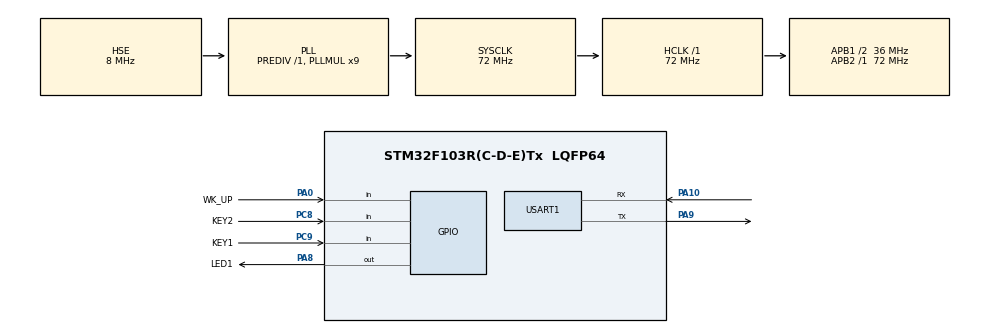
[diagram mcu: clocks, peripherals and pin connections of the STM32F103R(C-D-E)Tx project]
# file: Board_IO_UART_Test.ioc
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Mcu.Family=STM32F1
Mcu.Name=STM32F103R(C-D-E)Tx
Mcu.Package=LQFP64
NVIC.PriorityGroup=NVIC_PRIORITYGROUP_4
PA0-WKUP.GPIO_Label=WK_UP
PA0-WKUP.GPIO_PuPd=GPIO_PULLDOWN
PA0-WKUP.Signal=GPIO_Input
PA10.Mode=Asynchronous
PA10.Signal=USART1_RX
PA13.Mode=Serial_Wire
PA13.Signal=SYS_JTMS-SWDIO
PA14.Mode=Serial_Wire
PA14.Signal=SYS_JTCK-SWCLK
PA8.GPIO_Label=LED1
PA8.Signal=GPIO_Output
PA9.Mode=Asynchronous
PA9.Signal=USART1_TX
PC8.GPIO_Label=KEY2
PC8.GPIO_PuPd=GPIO_PULLUP
PC8.Signal=GPIO_Input
PC9.GPIO_Label=KEY1
PC9.GPIO_PuPd=GPIO_PULLUP
PC9.Signal=GPIO_Input
PD0-OSC_IN.Mode=HSE-External-Oscillator
PD0-OSC_IN.Signal=RCC_OSC_IN
PD1-OSC_OUT.Mode=HSE-External-Oscillator
PD1-OSC_OUT.Signal=RCC_OSC_OUT
ProjectManager.HeapSize=0x200
ProjectManager.StackSize=0x400
ProjectManager.TargetToolchain=MDK-ARM V5.32
RCC.AHBFreq_Value=72000000
RCC.APB1CLKDivider=RCC_HCLK_DIV2
RCC.APB1Freq_Value=36000000
RCC.APB1TimFreq_Value=72000000
RCC.APB2Freq_Value=72000000
RCC.APB2TimFreq_Value=72000000
RCC.HCLKFreq_Value=72000000
RCC.PLLMUL=RCC_PLL_MUL9
RCC.PLLSourceVirtual=RCC_PLLSOURCE_HSE
RCC.SYSCLKFreq_VALUE=72000000
RCC.SYSCLKSource=RCC_SYSCLKSOURCE_PLLCLK
RCC.USBFreq_Value=72000000
USART1.VirtualMode=VM_ASYNC
board=custom

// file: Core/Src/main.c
/* USER CODE BEGIN Header */
/**
  ******************************************************************************
  * @file           : main.c
  * @brief          : Main program body
  ******************************************************************************
  * @attention
  *
  * Copyright (c) 2026 STMicroelectronics.
  * All rights reserved.
  *
  * This software is licensed under terms that can be found in the LICENSE file
  * in the root directory of this software component.
  * If no LICENSE file comes with this software, it is provided AS-IS.
  *
  ******************************************************************************
  */
/* USER CODE END Header */
#include "main.h"

/* USER CODE BEGIN Includes */
#include <string.h>
/* USER CODE END Includes */

UART_HandleTypeDef huart1;

/* USER CODE BEGIN PV */
GPIO_PinState last_wkup_state;
GPIO_PinState last_key1_state;
GPIO_PinState last_key2_state;

uint32_t led_tick = 0;
/* USER CODE END PV */

void SystemClock_Config(void);
static void MX_GPIO_Init(void);
static void MX_USART1_UART_Init(void);

/* USER CODE BEGIN 0 */
static void UART_SendString(const char *str)
{
  HAL_UART_Transmit(&huart1,
                    (uint8_t *)str,
                    strlen(str),
                    HAL_MAX_DELAY);
}
/* USER CODE END 0 */

int main(void)
{

  /* MCU Configuration--------------------------------------------------------*/

  /* Reset of all peripherals, Initializes the Flash interface and the Systick. */
  HAL_Init();

  /* Configure the system clock */
  SystemClock_Config();

  /* Initialize all configured peripherals */
  MX_GPIO_Init();
  MX_USART1_UART_Init();
  /* USER CODE BEGIN 2 */
  UART_SendString("\r\n");
  UART_SendString("Board_IO_UART_Test started.\r\n");
  UART_SendString("SYSCLK: 72 MHz\r\n");
  UART_SendString("USART1: 115200 8N1\r\n");
  UART_SendString("Press WK_UP, KEY1 or KEY2.\r\n");

  last_wkup_state = HAL_GPIO_ReadPin(WK_UP_GPIO_Port, WK_UP_Pin);
  last_key1_state = HAL_GPIO_ReadPin(KEY1_GPIO_Port, KEY1_Pin);
  last_key2_state = HAL_GPIO_ReadPin(KEY2_GPIO_Port, KEY2_Pin);

  led_tick = HAL_GetTick();
  /* USER CODE END 2 */

  /* Infinite loop */
  /* USER CODE BEGIN WHILE */
  while (1)
  {
	  GPIO_PinState wkup_state;
  GPIO_PinState key1_state;
  GPIO_PinState key2_state;

  wkup_state = HAL_GPIO_ReadPin(WK_UP_GPIO_Port, WK_UP_Pin);
  key1_state = HAL_GPIO_ReadPin(KEY1_GPIO_Port, KEY1_Pin);
  key2_state = HAL_GPIO_ReadPin(KEY2_GPIO_Port, KEY2_Pin);

  /* LED每500毫秒翻转一次 */
  if (HAL_GetTick() - led_tick >= 500)
  {
    led_tick = HAL_GetTick();
    HAL_GPIO_TogglePin(LED1_GPIO_Port, LED1_Pin);
  }

  /* WK-UP：按下为高电平 */
  if (wkup_state != last_wkup_state)
  {
    HAL_Delay(20);
    wkup_state = HAL_GPIO_ReadPin(WK_UP_GPIO_Port, WK_UP_Pin);

    if (wkup_state != last_wkup_state)
    {
      last_wkup_state = wkup_state;

      if (wkup_state == GPIO_PIN_SET)
      {
        UART_SendString("WK_UP pressed\r\n");
      }
      else
      {
        UART_SendString("WK_UP released\r\n");
      }
    }
  }

  /* KEY1：按下为低电平 */
  if (key1_state != last_key1_state)
  {
    HAL_Delay(20);
    key1_state = HAL_GPIO_ReadPin(KEY1_GPIO_Port, KEY1_Pin);

    if (key1_state != last_key1_state)
    {
      last_key1_state = key1_state;

      if (key1_state == GPIO_PIN_RESET)
      {
        UART_SendString("KEY1 pressed\r\n");
      }
      else
      {
        UART_SendString("KEY1 released\r\n");
      }
    }
  }

  /* KEY2：按下为低电平 */
  if (key2_state != last_key2_state)
  {
    HAL_Delay(20);
    key2_state = HAL_GPIO_ReadPin(KEY2_GPIO_Port, KEY2_Pin);

    if (key2_state != last_key2_state)
    {
      last_key2_state = key2_state;

      if (key2_state == GPIO_PIN_RESET)
      {
        UART_SendString("KEY2 pressed\r\n");
      }
      else
      {
        UART_SendString("KEY2 released\r\n");
      }
    }
  }

  HAL_Delay(5);
    /* USER CODE END WHILE */

  }
}

void SystemClock_Config(void)
{
  RCC_OscInitTypeDef RCC_OscInitStruct = {0};
  RCC_ClkInitTypeDef RCC_ClkInitStruct = {0};

  /** Initializes the RCC Oscillators according to the specified parameters
  * in the RCC_OscInitTypeDef structure.
  */
  RCC_OscInitStruct.OscillatorType = RCC_OSCILLATORTYPE_HSE;
  RCC_OscInitStruct.HSEState = RCC_HSE_ON;
  RCC_OscInitStruct.HSEPredivValue = RCC_HSE_PREDIV_DIV1;
  RCC_OscInitStruct.HSIState = RCC_HSI_ON;
  RCC_OscInitStruct.PLL.PLLState = RCC_PLL_ON;
  RCC_OscInitStruct.PLL.PLLSource = RCC_PLLSOURCE_HSE;
  RCC_OscInitStruct.PLL.PLLMUL = RCC_PLL_MUL9;
  if (HAL_RCC_OscConfig(&RCC_OscInitStruct) != HAL_OK)
  {
    Error_Handler();
  }

  /** Initializes the CPU, AHB and APB buses clocks
  */
  RCC_ClkInitStruct.ClockType = RCC_CLOCKTYPE_HCLK|RCC_CLOCKTYPE_SYSCLK
                              |RCC_CLOCKTYPE_PCLK1|RCC_CLOCKTYPE_PCLK2;
  RCC_ClkInitStruct.SYSCLKSource = RCC_SYSCLKSOURCE_PLLCLK;
  RCC_ClkInitStruct.AHBCLKDivider = RCC_SYSCLK_DIV1;
  RCC_ClkInitStruct.APB1CLKDivider = RCC_HCLK_DIV2;
  RCC_ClkInitStruct.APB2CLKDivider = RCC_HCLK_DIV1;

  if (HAL_RCC_ClockConfig(&RCC_ClkInitStruct, FLASH_LATENCY_2) != HAL_OK)
  {
    Error_Handler();
  }
}

static void MX_USART1_UART_Init(void)
{

  huart1.Instance = USART1;
  huart1.Init.BaudRate = 115200;
  huart1.Init.WordLength = UART_WORDLENGTH_8B;
  huart1.Init.StopBits = UART_STOPBITS_1;
  huart1.Init.Parity = UART_PARITY_NONE;
  huart1.Init.Mode = UART_MODE_TX_RX;
  huart1.Init.HwFlowCtl = UART_HWCONTROL_NONE;
  huart1.Init.OverSampling = UART_OVERSAMPLING_16;
  if (HAL_UART_Init(&huart1) != HAL_OK)
  {
    Error_Handler();
  }

}

static void MX_GPIO_Init(void)
{
  GPIO_InitTypeDef GPIO_InitStruct = {0};

  /* GPIO Ports Clock Enable */
  __HAL_RCC_GPIOD_CLK_ENABLE();
  __HAL_RCC_GPIOA_CLK_ENABLE();
  __HAL_RCC_GPIOC_CLK_ENABLE();

  /*Configure GPIO pin Output Level */
  HAL_GPIO_WritePin(LED1_GPIO_Port, LED1_Pin, GPIO_PIN_RESET);

  /*Configure GPIO pin : WK_UP_Pin */
  GPIO_InitStruct.Pin = WK_UP_Pin;
  GPIO_InitStruct.Mode = GPIO_MODE_INPUT;
  GPIO_InitStruct.Pull = GPIO_PULLDOWN;
  HAL_GPIO_Init(WK_UP_GPIO_Port, &GPIO_InitStruct);

  /*Configure GPIO pins : KEY2_Pin KEY1_Pin */
  GPIO_InitStruct.Pin = KEY2_Pin|KEY1_Pin;
  GPIO_InitStruct.Mode = GPIO_MODE_INPUT;
  GPIO_InitStruct.Pull = GPIO_PULLUP;
  HAL_GPIO_Init(GPIOC, &GPIO_InitStruct);

  /*Configure GPIO pin : LED1_Pin */
  GPIO_InitStruct.Pin = LED1_Pin;
  GPIO_InitStruct.Mode = GPIO_MODE_OUTPUT_PP;
  GPIO_InitStruct.Pull = GPIO_NOPULL;
  GPIO_InitStruct.Speed = GPIO_SPEED_FREQ_LOW;
  HAL_GPIO_Init(LED1_GPIO_Port, &GPIO_InitStruct);

}

void Error_Handler(void)
{
  __disable_irq();
  while (1)
  {
  }
}
